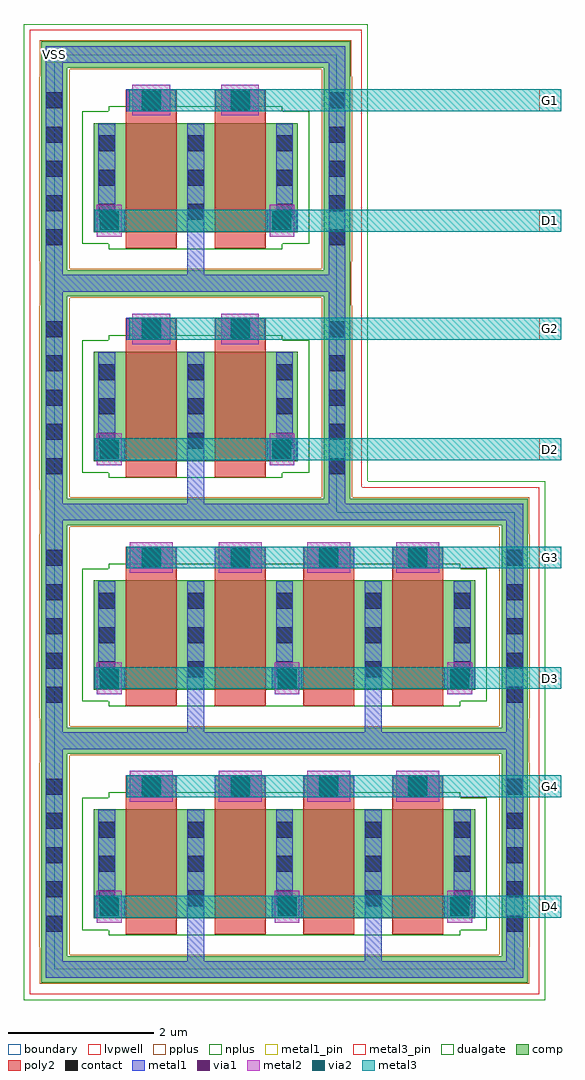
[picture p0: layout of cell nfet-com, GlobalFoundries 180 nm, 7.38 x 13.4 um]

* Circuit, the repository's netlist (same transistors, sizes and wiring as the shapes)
** sch_path: /foss/designs/sscs-chipathon2025-LNA/designs/libs/core_single-fet/nfet-com/nfet-com.sch
.subckt nfet-com D1 G1 D2 G2 D3 G3 D4 G4 VSS
*.PININFO VSS:B D1:B G1:B D2:B G2:B D3:B G3:B D4:B G4:B
M21 D2 G2 VSS VSS nfet_06v0 L=0.70u W=1.50u nf=1 m=2
M22 D1 G1 VSS VSS nfet_06v0 L=0.70u W=1.50u nf=1 m=2
M23 D4 G4 VSS VSS nfet_06v0 L=0.70u W=1.50u nf=1 m=4
M24 D3 G3 VSS VSS nfet_06v0 L=0.70u W=1.50u nf=1 m=4
.ends

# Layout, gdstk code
import gdstk
lib = gdstk.Library(unit=1e-6, precision=1e-09)
def R(c, l, rs):  # rectangles x0, y0, x1, y1
    for r in rs: c.add(gdstk.rectangle(r[:2], r[2:], *l))
def A(c, l, x, y, w, h, nx, ny, dx, dy):  # array of equal rectangles
    R(c, l, [(x+i*dx, y+j*dy, x+i*dx+w, y+j*dy+h) for i in range(nx) for j in range(ny)])
boundary = (0, 0)
comp = (22, 0)
poly2 = (30, 0)
pplus = (31, 0)
nplus = (32, 0)
contact = (33, 0)
metal1 = (34, 0)
metal1_pin = (34, 10)
via1 = (35, 0)
metal2 = (36, 0)
via2 = (38, 0)
metal3 = (42, 0)
metal3_pin = (42, 10)
dualgate = (55, 0)
lvpwell = (204, 0)

nfet_06v0_52fgqa = lib.new_cell('nfet_06v0_52FGQA')
R(nfet_06v0_52fgqa, boundary, [(-3.16,-1.57,3.16,1.57)])
R(nfet_06v0_52fgqa, comp, [(-3.34,-1.75,3.34,-1.39), (-3.34,-1.39,-2.98,1.39), (2.98,-1.39,3.34,1.39), (-2.62,-0.87,2.62,0.63), (-3.34,1.39,3.34,1.75)])
A(nfet_06v0_52fgqa, poly2, -2.18, -1.09, 0.7, 2.18, 4, 1, 1.22, 0)
R(nfet_06v0_52fgqa, pplus, [(-3.36,-1.77,3.36,-1.37), (-3.36,-1.37,-2.95,-1.265), (2.95,-1.37,3.36,-1.265), (-3.37,-1.265,-2.95,1.265), (2.95,-1.265,3.37,1.265), (-3.36,1.265,-2.95,1.37), (2.95,1.265,3.36,1.37), (-3.36,1.37,3.36,1.77)])
R(nfet_06v0_52fgqa, nplus, [(-2.41,-1.1,2.41,-1.03), (-2.78,-1.03,2.78,0.79), (-2.41,0.79,2.41,0.86)])
A(nfet_06v0_52fgqa, contact, -3.27, -1.05, 0.22, 0.22, 1, 5, 0, 0.47)
A(nfet_06v0_52fgqa, contact, 3.05, -1.05, 0.22, 0.22, 1, 5, 0, 0.47)
A(nfet_06v0_52fgqa, contact, -2.55, -0.7, 0.22, 0.22, 5, 3, 1.22, 0.47)
A(nfet_06v0_52fgqa, contact, -1.94, 0.8, 0.22, 0.22, 4, 1, 1.22, 0)
A(nfet_06v0_52fgqa, metal1, -2.555, -0.86, 0.23, 1.48, 5, 1, 1.22, 0)
A(nfet_06v0_52fgqa, metal1, -2.17, 0.795, 0.68, 0.23, 4, 1, 1.22, 0)
R(nfet_06v0_52fgqa, metal1, [(-3.275,-1.685,3.275,-1.455), (-3.275,-1.455,-3.045,1.455), (3.045,-1.455,3.275,1.455), (-3.275,1.455,3.275,1.685)])
R(nfet_06v0_52fgqa, dualgate, [(-3.58,-1.99,3.58,1.99)])
R(nfet_06v0_52fgqa, lvpwell, [(-3.5,-1.91,3.5,1.91)])

nfet_06v0_zzegqs = lib.new_cell('nfet_06v0_ZZEGQS')
R(nfet_06v0_zzegqs, boundary, [(-1.94,-1.57,1.94,1.57)])
R(nfet_06v0_zzegqs, comp, [(-2.12,-1.75,2.12,-1.39), (-2.12,-1.39,-1.76,1.39), (1.76,-1.39,2.12,1.39), (-1.4,-0.87,1.4,0.63), (-2.12,1.39,2.12,1.75)])
R(nfet_06v0_zzegqs, poly2, [(-0.96,-1.09,-0.26,1.09), (0.26,-1.09,0.96,1.09)])
R(nfet_06v0_zzegqs, pplus, [(-2.14,-1.77,2.14,-1.37), (-2.14,-1.37,-1.73,-1.265), (1.73,-1.37,2.14,-1.265), (-2.15,-1.265,-1.73,1.265), (1.73,-1.265,2.15,1.265), (-2.14,1.265,-1.73,1.37), (1.73,1.265,2.14,1.37), (-2.14,1.37,2.14,1.77)])
R(nfet_06v0_zzegqs, nplus, [(-1.19,-1.1,1.19,-1.03), (-1.56,-1.03,1.56,0.79), (-1.19,0.79,1.19,0.86)])
A(nfet_06v0_zzegqs, contact, -2.05, -1.05, 0.22, 0.22, 1, 5, 0, 0.47)
A(nfet_06v0_zzegqs, contact, 1.83, -1.05, 0.22, 0.22, 1, 5, 0, 0.47)
A(nfet_06v0_zzegqs, contact, -1.33, -0.7, 0.22, 0.22, 3, 3, 1.22, 0.47)
R(nfet_06v0_zzegqs, contact, [(-0.72,0.8,-0.5,1.02), (0.5,0.8,0.72,1.02)])
A(nfet_06v0_zzegqs, metal1, -1.335, -0.86, 0.23, 1.48, 3, 1, 1.22, 0)
R(nfet_06v0_zzegqs, metal1, [(-2.055,-1.685,2.055,-1.455), (-2.055,-1.455,-1.825,1.455), (1.825,-1.455,2.055,1.455), (-0.95,0.795,-0.27,1.025), (0.27,0.795,0.95,1.025), (-2.055,1.455,2.055,1.685)])
R(nfet_06v0_zzegqs, dualgate, [(-2.36,-1.99,2.36,1.99)])
R(nfet_06v0_zzegqs, lvpwell, [(-2.28,-1.91,2.28,1.91)])

nfet_com = lib.new_cell('nfet-com')
R(nfet_com, pplus, [(0.82,-2.82,0.83,-2.715)])
A(nfet_com, metal1, -3.375, -9.185, 0.23, 2.91, 1, 3, 0, 3.14)
A(nfet_com, metal1, -2.715, -8.59, 0.42, 0.3, 1, 4, 0, 3.14)
A(nfet_com, metal1, -2.655, -8.29, 0.23, 1.18, 3, 1, 2.44, 0)
A(nfet_com, metal1, -2.275, -6.935, 0.69, 0.3, 4, 2, 1.22, 3.14)
R(nfet_com, metal1, [(-3.375,-9.415,3.175,-9.185), (-1.435,-9.185,-1.205,-7.11), (1.005,-9.185,1.235,-7.11), (2.945,-9.185,3.175,-6.275), (-0.275,-8.59,0.145,-8.29), (2.095,-8.59,2.515,-8.29), (-3.375,-6.275,3.175,-6.045), (-1.435,-6.045,-1.205,-5.45), (1.005,-6.045,1.235,-5.45), (-0.275,-5.45,0.145,-5.15), (2.095,-5.45,2.515,-5.15), (-3.375,-3.135,0.735,-2.905), (-1.435,-2.905,-1.205,-0.83), (0.505,-2.905,0.735,0.005), (-0.345,-2.31,0.075,-2.01), (-2.655,-2.01,-2.425,-0.83), (-0.215,-2.01,0.015,-0.83), (-2.27,-0.655,-1.59,-0.355), (-1.05,-0.655,-0.37,-0.355), (-3.375,0.005,0.735,0.235), (-3.375,0.235,-3.145,3.375), (-1.435,0.235,-1.205,1.025), (-0.345,0.83,0.075,1.13), (-2.27,2.485,-1.59,2.785), (-1.05,2.485,-0.37,2.785)])
R(nfet_com, metal1_pin, [(-3.375,3.145,-3.145,3.375)])
A(nfet_com, via1, -2.635, -8.57, 0.26, 0.26, 1, 4, 0, 3.14)
A(nfet_com, via1, -2.06, -6.915, 0.26, 0.26, 4, 2, 1.22, 3.14)
R(nfet_com, via1, [(-0.195,-8.57,0.065,-8.31), (2.175,-8.57,2.435,-8.31), (-0.195,-5.43,0.065,-5.17), (2.175,-5.43,2.435,-5.17), (-0.265,-2.29,-0.005,-2.03), (-2.06,-0.635,-1.8,-0.375), (-0.84,-0.635,-0.58,-0.375), (-0.265,0.85,-0.005,1.11), (-2.06,2.505,-1.8,2.765), (-0.84,2.505,-0.58,2.765)])
A(nfet_com, metal2, -2.675, -8.66, 0.34, 0.44, 1, 4, 0, 3.14)
A(nfet_com, metal2, -2.225, -6.995, 0.59, 0.42, 4, 2, 1.22, 3.14)
R(nfet_com, metal2, [(-0.235,-8.66,0.105,-8.22), (2.135,-8.66,2.475,-8.22), (-0.235,-5.52,0.105,-5.08), (2.135,-5.52,2.475,-5.08), (-0.305,-2.38,0.035,-1.94), (-2.19,-0.715,-1.67,-0.295), (-0.97,-0.715,-0.45,-0.295), (-0.305,0.76,0.035,1.2), (-2.19,2.425,-1.67,2.845), (-0.97,2.425,-0.45,2.845)])
A(nfet_com, via2, -2.635, -8.57, 0.26, 0.26, 1, 4, 0, 3.14)
A(nfet_com, via2, -2.06, -6.915, 0.26, 0.26, 4, 2, 1.22, 3.14)
R(nfet_com, via2, [(-0.195,-8.57,0.065,-8.31), (2.175,-8.57,2.435,-8.31), (-0.195,-5.43,0.065,-5.17), (2.175,-5.43,2.435,-5.17), (-0.265,-2.29,-0.005,-2.03), (-2.06,-0.635,-1.8,-0.375), (-0.84,-0.635,-0.58,-0.375), (-0.265,0.85,-0.005,1.11), (-2.06,2.505,-1.8,2.765), (-0.84,2.505,-0.58,2.765)])
A(nfet_com, metal3, -2.705, -8.59, 6.405, 0.3, 1, 4, 0, 3.14)
R(nfet_com, metal3, [(-2.265,-6.935,3.7,-6.635), (-2.265,-3.795,3.7,-3.495), (-2.23,-0.655,3.7,-0.355), (-2.23,2.485,3.7,2.785)])
R(nfet_com, metal3_pin, [(3.4,-8.59,3.7,-8.29), (3.4,-6.935,3.7,-6.635), (3.4,-5.45,3.7,-5.15), (3.4,-3.795,3.7,-3.495), (3.4,-2.31,3.7,-2.01), (3.4,-0.655,3.7,-0.355), (3.4,0.83,3.7,1.13), (3.4,2.485,3.7,2.785)])
nfet_com.add(gdstk.Reference(nfet_06v0_52fgqa, (-0.1,-4.59)))
nfet_com.add(gdstk.Reference(nfet_06v0_zzegqs, (-1.32,1.69)))
nfet_com.add(gdstk.Reference(nfet_06v0_zzegqs, (-1.32,-1.45)))
nfet_com.add(gdstk.Reference(nfet_06v0_52fgqa, (-0.1,-7.73)))
nfet_com.add(gdstk.Label('G1', (3.55,2.635), layer=42, texttype=10))
nfet_com.add(gdstk.Label('D1', (3.55,0.98), layer=42, texttype=10))
nfet_com.add(gdstk.Label('G2', (3.55,-0.505), layer=42, texttype=10))
nfet_com.add(gdstk.Label('D2', (3.55,-2.16), layer=42, texttype=10))
nfet_com.add(gdstk.Label('G3', (3.55,-3.645), layer=42, texttype=10))
nfet_com.add(gdstk.Label('D3', (3.55,-5.3), layer=42, texttype=10))
nfet_com.add(gdstk.Label('G4', (3.55,-6.785), layer=42, texttype=10))
nfet_com.add(gdstk.Label('D4', (3.55,-8.44), layer=42, texttype=10))
nfet_com.add(gdstk.Label('VSS', (-3.26,3.26), layer=34, texttype=10))

lib.write_gds('nfet-com.gds')
